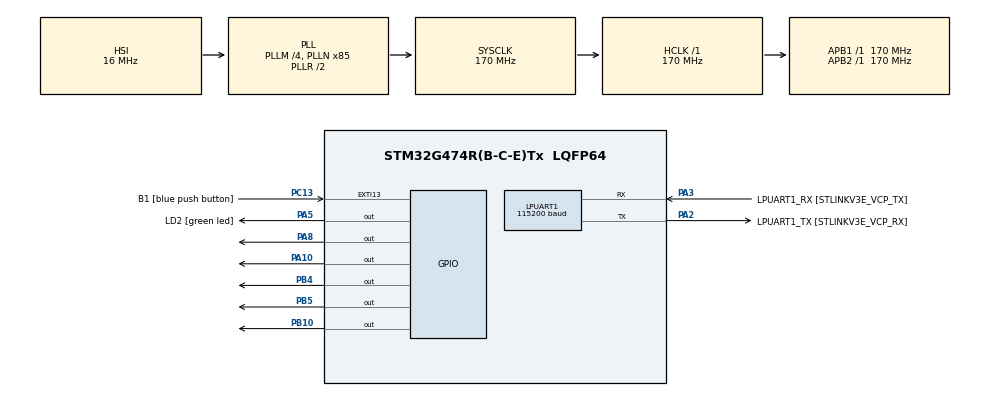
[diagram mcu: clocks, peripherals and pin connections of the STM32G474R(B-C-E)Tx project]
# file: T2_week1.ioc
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LPUART1.BaudRate=115200
LPUART1.WordLength=UART_WORDLENGTH_8B
Mcu.Family=STM32G4
Mcu.Name=STM32G474R(B-C-E)Tx
Mcu.Package=LQFP64
NVIC.EXTI15_10_IRQn=true\:0\:0\:false\:false\:true\:true\:true\:true
NVIC.PriorityGroup=NVIC_PRIORITYGROUP_4
PA10.Signal=GPIO_Output
PA13.GPIO_Label=T_SWDIO
PA13.Mode=Trace_Asynchronous_SW
PA13.Signal=SYS_JTMS-SWDIO
PA14.GPIO_Label=T_SWCLK
PA14.Mode=Trace_Asynchronous_SW
PA14.Signal=SYS_JTCK-SWCLK
PA2.GPIO_Label=LPUART1_TX [STLINKV3E_VCP_RX]
PA2.Mode=Asynchronous
PA2.Signal=LPUART1_TX
PA3.GPIO_Label=LPUART1_RX [STLINKV3E_VCP_TX]
PA3.Mode=Asynchronous
PA3.Signal=LPUART1_RX
PA5.GPIO_Label=LD2 [green led]
PA5.Signal=GPIO_Output
PA8.Signal=GPIO_Output
PB10.Signal=GPIO_Output
PB3.GPIO_Label=T_SWO
PB3.Mode=Trace_Asynchronous_SW
PB3.Signal=SYS_JTDO-SWO
PB4.Signal=GPIO_Output
PB5.Signal=GPIO_Output
PC13.GPIO_Label=B1 [blue push button]
PC13.Signal=GPXTI13
PC14-OSC32_IN.Mode=LSE-External-Oscillator
PC14-OSC32_IN.Signal=RCC_OSC32_IN
PC15-OSC32_OUT.Mode=LSE-External-Oscillator
PC15-OSC32_OUT.Signal=RCC_OSC32_OUT
PF0-OSC_IN.Mode=HSE-External-Oscillator
PF0-OSC_IN.Signal=RCC_OSC_IN
PF1-OSC_OUT.Mode=HSE-External-Oscillator
PF1-OSC_OUT.Signal=RCC_OSC_OUT
ProjectManager.HeapSize=0x200
ProjectManager.StackSize=0x400
ProjectManager.TargetToolchain=STM32CubeIDE
RCC.ADC12Freq_Value=170000000
RCC.ADC345Freq_Value=170000000
RCC.AHBFreq_Value=170000000
RCC.APB1Freq_Value=170000000
RCC.APB1TimFreq_Value=170000000
RCC.APB2Freq_Value=170000000
RCC.APB2TimFreq_Value=170000000
RCC.CortexFreq_Value=170000000
RCC.EXTERNAL_CLOCK_VALUE=12288000
RCC.HCLKFreq_Value=170000000
RCC.HSE_VALUE=24000000
RCC.HSI48_VALUE=48000000
RCC.HSI_VALUE=16000000
RCC.PLLM=RCC_PLLM_DIV4
RCC.PLLN=85
RCC.RTCClockSelection=RCC_RTCCLKSOURCE_LSE
RCC.SYSCLKFreq_VALUE=170000000
RCC.SYSCLKSource=RCC_SYSCLKSOURCE_PLLCLK
RCC.USBFreq_Value=170000000
RCC.VCOOutputFreq_Value=340000000
VP_SYS_VS_DBSignals.Mode=DisableDeadBatterySignals
board=NUCLEO-G474RE

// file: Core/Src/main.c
/* USER CODE BEGIN Header */
/**
  ******************************************************************************
  * @file           : main.c
  * @brief          : Main program body
  ******************************************************************************
  * @attention
  *
  * Copyright (c) 2024 STMicroelectronics.
  * All rights reserved.
  *
  * This software is licensed under terms that can be found in the LICENSE file
  * in the root directory of this software component.
  * If no LICENSE file comes with this software, it is provided AS-IS.
  *
  ******************************************************************************
  */
/* USER CODE END Header */
#include "main.h"

UART_HandleTypeDef hlpuart1;

/* USER CODE BEGIN PV */
uint8_t countUp;
/* USER CODE END PV */

void SystemClock_Config(void);
static void MX_GPIO_Init(void);
static void MX_LPUART1_UART_Init(void);
/* USER CODE BEGIN PFP */
void countUp_Task();
/* USER CODE END PFP */

int main(void)
{

  /* MCU Configuration--------------------------------------------------------*/

  /* Reset of all peripherals, Initializes the Flash interface and the Systick. */
  HAL_Init();

  /* Configure the system clock */
  SystemClock_Config();

  /* Initialize all configured peripherals */
  MX_GPIO_Init();
  MX_LPUART1_UART_Init();

  /* Infinite loop */
  while (1)
  {

    /* USER CODE BEGIN 3 */
	  HAL_GPIO_WritePin(GPIOA, GPIO_PIN_8, 1);
	  HAL_GPIO_WritePin(GPIOB, GPIO_PIN_10, 1);
	  HAL_GPIO_WritePin(GPIOB, GPIO_PIN_4, 0);
	  HAL_GPIO_WritePin(GPIOB, GPIO_PIN_5, 0);
	  HAL_GPIO_WritePin(GPIOA, GPIO_PIN_10, 1);
	  HAL_Delay(10);
	  HAL_GPIO_WritePin(GPIOA, GPIO_PIN_8, 0);
	  HAL_Delay(100);

	  HAL_GPIO_WritePin(GPIOA, GPIO_PIN_8, 1);
	  HAL_GPIO_WritePin(GPIOA, GPIO_PIN_8, 1);
	  HAL_GPIO_WritePin(GPIOB, GPIO_PIN_10, 1);
	  HAL_GPIO_WritePin(GPIOB, GPIO_PIN_4, 0);
	  HAL_GPIO_WritePin(GPIOB, GPIO_PIN_5, 0);
	  HAL_GPIO_WritePin(GPIOA, GPIO_PIN_10, 1);
	  HAL_Delay(500);
	  HAL_GPIO_WritePin(GPIOA, GPIO_PIN_8, 0);
	  HAL_Delay(100);

	  HAL_GPIO_WritePin(GPIOA, GPIO_PIN_8, 1);
	  HAL_GPIO_WritePin(GPIOA, GPIO_PIN_8, 0);
	  HAL_GPIO_WritePin(GPIOB, GPIO_PIN_10, 0);
	  HAL_GPIO_WritePin(GPIOB, GPIO_PIN_4, 1);
	  HAL_GPIO_WritePin(GPIOB, GPIO_PIN_5, 0);
	  HAL_GPIO_WritePin(GPIOA, GPIO_PIN_10, 1);
	  HAL_Delay(500);
	  HAL_GPIO_WritePin(GPIOA, GPIO_PIN_8, 0);
	  HAL_Delay(100);

	  HAL_GPIO_WritePin(GPIOA, GPIO_PIN_8, 1);
	  HAL_GPIO_WritePin(GPIOA, GPIO_PIN_8, 0);
	  HAL_GPIO_WritePin(GPIOB, GPIO_PIN_10, 1);
	  HAL_GPIO_WritePin(GPIOB, GPIO_PIN_4, 1);
	  HAL_GPIO_WritePin(GPIOB, GPIO_PIN_5, 1);
	  HAL_GPIO_WritePin(GPIOA, GPIO_PIN_10, 1);
	  HAL_Delay(500);
	  HAL_GPIO_WritePin(GPIOA, GPIO_PIN_8, 0);
	  HAL_Delay(100);

  }
  /* USER CODE END 3 */
}

void SystemClock_Config(void)
{
  RCC_OscInitTypeDef RCC_OscInitStruct = {0};
  RCC_ClkInitTypeDef RCC_ClkInitStruct = {0};

  /** Configure the main internal regulator output voltage
  */
  HAL_PWREx_ControlVoltageScaling(PWR_REGULATOR_VOLTAGE_SCALE1_BOOST);

  /** Initializes the RCC Oscillators according to the specified parameters
  * in the RCC_OscInitTypeDef structure.
  */
  RCC_OscInitStruct.OscillatorType = RCC_OSCILLATORTYPE_HSI;
  RCC_OscInitStruct.HSIState = RCC_HSI_ON;
  RCC_OscInitStruct.HSICalibrationValue = RCC_HSICALIBRATION_DEFAULT;
  RCC_OscInitStruct.PLL.PLLState = RCC_PLL_ON;
  RCC_OscInitStruct.PLL.PLLSource = RCC_PLLSOURCE_HSI;
  RCC_OscInitStruct.PLL.PLLM = RCC_PLLM_DIV4;
  RCC_OscInitStruct.PLL.PLLN = 85;
  RCC_OscInitStruct.PLL.PLLP = RCC_PLLP_DIV2;
  RCC_OscInitStruct.PLL.PLLQ = RCC_PLLQ_DIV2;
  RCC_OscInitStruct.PLL.PLLR = RCC_PLLR_DIV2;
  if (HAL_RCC_OscConfig(&RCC_OscInitStruct) != HAL_OK)
  {
    Error_Handler();
  }

  /** Initializes the CPU, AHB and APB buses clocks
  */
  RCC_ClkInitStruct.ClockType = RCC_CLOCKTYPE_HCLK|RCC_CLOCKTYPE_SYSCLK
                              |RCC_CLOCKTYPE_PCLK1|RCC_CLOCKTYPE_PCLK2;
  RCC_ClkInitStruct.SYSCLKSource = RCC_SYSCLKSOURCE_PLLCLK;
  RCC_ClkInitStruct.AHBCLKDivider = RCC_SYSCLK_DIV1;
  RCC_ClkInitStruct.APB1CLKDivider = RCC_HCLK_DIV1;
  RCC_ClkInitStruct.APB2CLKDivider = RCC_HCLK_DIV1;

  if (HAL_RCC_ClockConfig(&RCC_ClkInitStruct, FLASH_LATENCY_4) != HAL_OK)
  {
    Error_Handler();
  }
}

static void MX_LPUART1_UART_Init(void)
{

  hlpuart1.Instance = LPUART1;
  hlpuart1.Init.BaudRate = 115200;
  hlpuart1.Init.WordLength = UART_WORDLENGTH_8B;
  hlpuart1.Init.StopBits = UART_STOPBITS_1;
  hlpuart1.Init.Parity = UART_PARITY_NONE;
  hlpuart1.Init.Mode = UART_MODE_TX_RX;
  hlpuart1.Init.HwFlowCtl = UART_HWCONTROL_NONE;
  hlpuart1.Init.OneBitSampling = UART_ONE_BIT_SAMPLE_DISABLE;
  hlpuart1.Init.ClockPrescaler = UART_PRESCALER_DIV1;
  hlpuart1.AdvancedInit.AdvFeatureInit = UART_ADVFEATURE_NO_INIT;
  if (HAL_UART_Init(&hlpuart1) != HAL_OK)
  {
    Error_Handler();
  }
  if (HAL_UARTEx_SetTxFifoThreshold(&hlpuart1, UART_TXFIFO_THRESHOLD_1_8) != HAL_OK)
  {
    Error_Handler();
  }
  if (HAL_UARTEx_SetRxFifoThreshold(&hlpuart1, UART_RXFIFO_THRESHOLD_1_8) != HAL_OK)
  {
    Error_Handler();
  }
  if (HAL_UARTEx_DisableFifoMode(&hlpuart1) != HAL_OK)
  {
    Error_Handler();
  }

}

static void MX_GPIO_Init(void)
{
  GPIO_InitTypeDef GPIO_InitStruct = {0};

  /* GPIO Ports Clock Enable */
  __HAL_RCC_GPIOC_CLK_ENABLE();
  __HAL_RCC_GPIOF_CLK_ENABLE();
  __HAL_RCC_GPIOA_CLK_ENABLE();
  __HAL_RCC_GPIOB_CLK_ENABLE();

  /*Configure GPIO pin Output Level */
  HAL_GPIO_WritePin(GPIOA, LD2_Pin|GPIO_PIN_8|GPIO_PIN_10, GPIO_PIN_RESET);

  /*Configure GPIO pin Output Level */
  HAL_GPIO_WritePin(GPIOB, GPIO_PIN_10|GPIO_PIN_4|GPIO_PIN_5, GPIO_PIN_RESET);

  /*Configure GPIO pin : B1_Pin */
  GPIO_InitStruct.Pin = B1_Pin;
  GPIO_InitStruct.Mode = GPIO_MODE_IT_RISING;
  GPIO_InitStruct.Pull = GPIO_NOPULL;
  HAL_GPIO_Init(B1_GPIO_Port, &GPIO_InitStruct);

  /*Configure GPIO pins : LD2_Pin PA8 PA10 */
  GPIO_InitStruct.Pin = LD2_Pin|GPIO_PIN_8|GPIO_PIN_10;
  GPIO_InitStruct.Mode = GPIO_MODE_OUTPUT_PP;
  GPIO_InitStruct.Pull = GPIO_NOPULL;
  GPIO_InitStruct.Speed = GPIO_SPEED_FREQ_LOW;
  HAL_GPIO_Init(GPIOA, &GPIO_InitStruct);

  /*Configure GPIO pins : PB10 PB4 PB5 */
  GPIO_InitStruct.Pin = GPIO_PIN_10|GPIO_PIN_4|GPIO_PIN_5;
  GPIO_InitStruct.Mode = GPIO_MODE_OUTPUT_PP;
  GPIO_InitStruct.Pull = GPIO_NOPULL;
  GPIO_InitStruct.Speed = GPIO_SPEED_FREQ_LOW;
  HAL_GPIO_Init(GPIOB, &GPIO_InitStruct);

  /* EXTI interrupt init*/
  HAL_NVIC_SetPriority(EXTI15_10_IRQn, 0, 0);
  HAL_NVIC_EnableIRQ(EXTI15_10_IRQn);

}

/* USER CODE BEGIN 4 */
int _write(int file,char *ptr,int len)
{
int i;

for(i=0;i<len;i++)
{
ITM_SendChar(*ptr++);
}
return len;
}

/* USER CODE END 4 */

void Error_Handler(void)
{
  __disable_irq();
  while (1)
  {
  }
}
